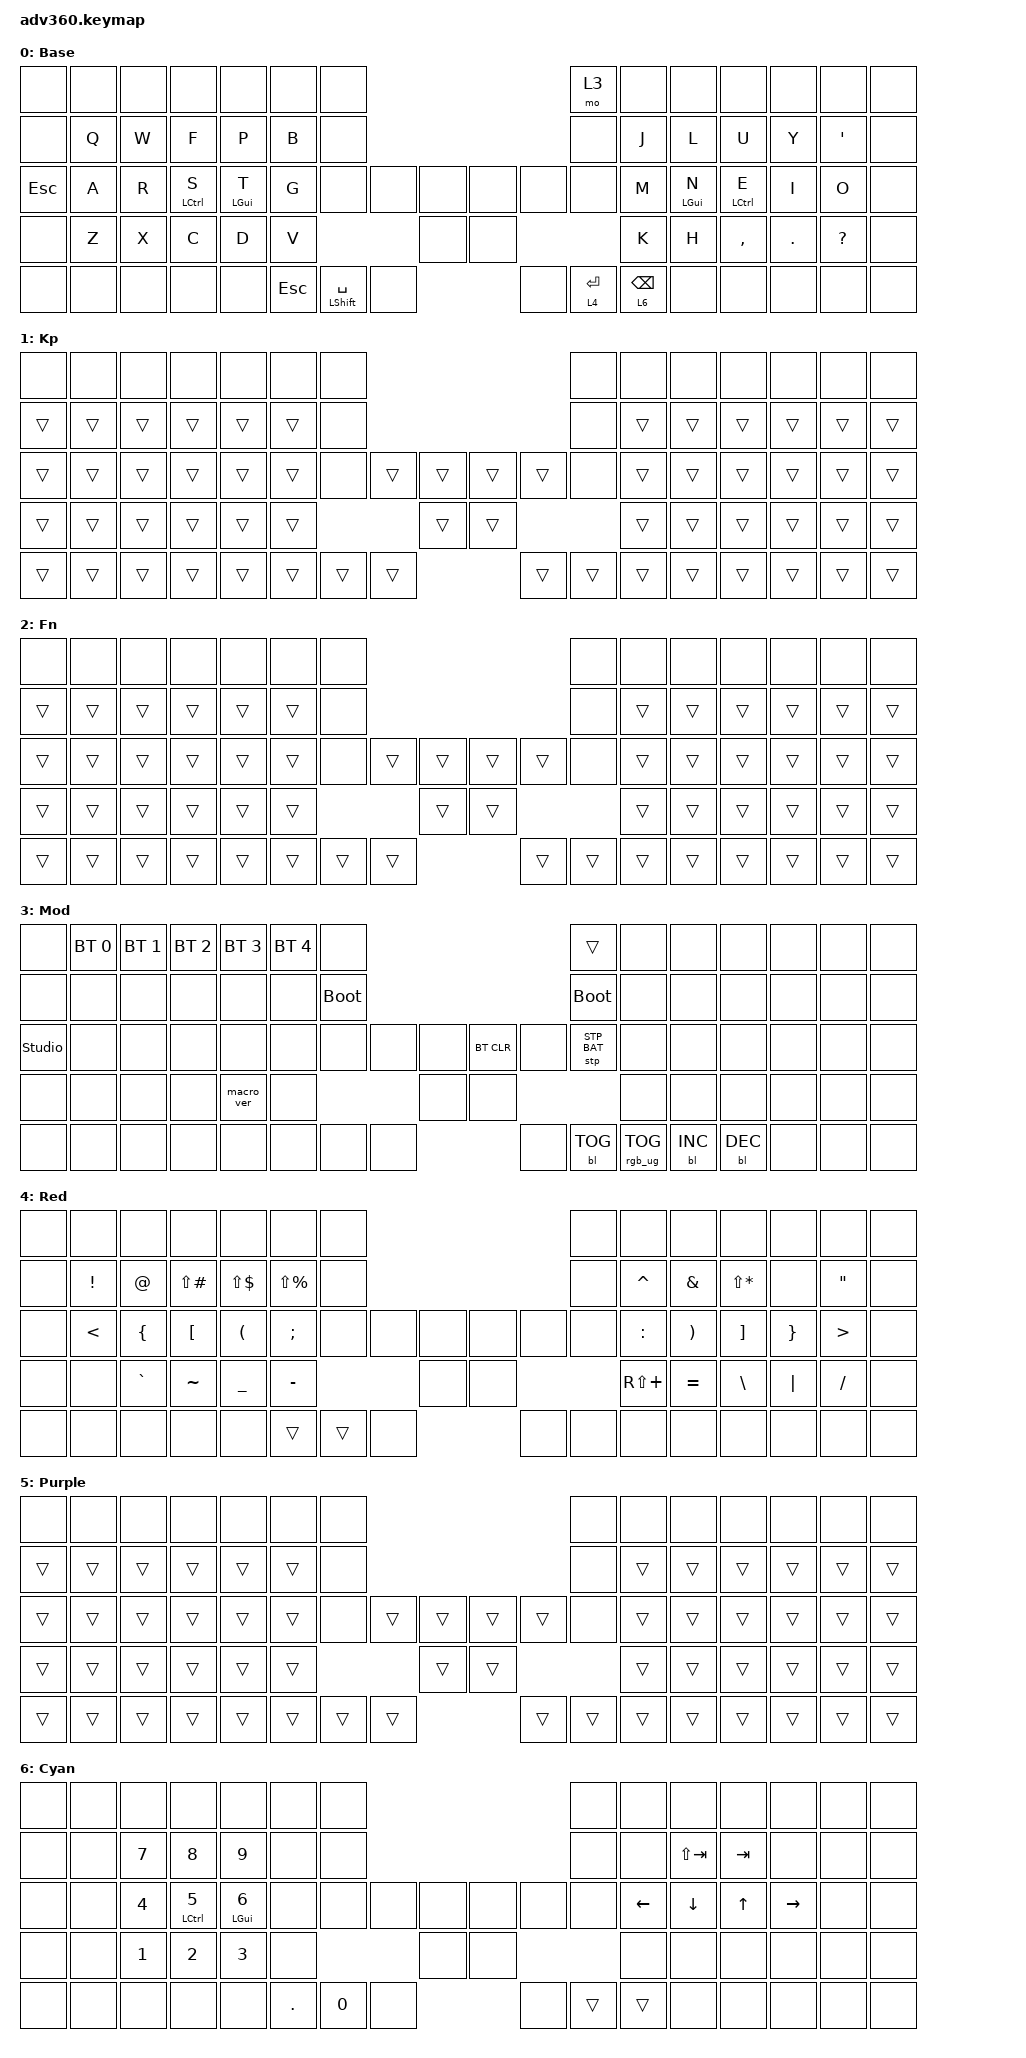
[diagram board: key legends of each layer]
#include <dt-bindings/zmk/stp.h>
#include <behaviors.dtsi>
#include <dt-bindings/zmk/backlight.h>
#include <dt-bindings/zmk/bt.h>
#include <dt-bindings/zmk/keys.h>
#include <dt-bindings/zmk/rgb.h>

/ {
    behaviors {
        #include "macros.dtsi"
      #include "version.dtsi"

        hm: homerow_mods {
            compatible = "zmk,behavior-hold-tap";
            label = "HOMEROW_MODS";
            #binding-cells = <2>;
            tapping-term-ms = <200>;
            quick_tap_ms = <175>;
            flavor = "tap-preferred";
            bindings = <&kp>, <&kp>;
        };

        td2: tap_dance_2 {
            compatible = "zmk,behavior-tap-dance";
            #binding-cells = <0>;
            tapping-term-ms = <200>;
            bindings = <&kp ENTER>, <&kp ESCAPE>;
        };
    };

    macros {
        escapeand0: escapeand0 {
            compatible = "zmk,behavior-macro";
            #binding-cells = <0>;
            bindings = <&kp ESCAPE &to 0>;
            label = "ESCAPEAND0";
        };
    };

    keymap {
        compatible = "zmk,keymap";

        default_layer {
            display-name = "Base";
            bindings = <
&none    &none  &none  &none        &none           &none  &none                                                                                &mo 3  &none  &none           &none        &none    &none         &none
&none    &kp Q  &kp W  &kp F        &kp P           &kp B  &none                                                                                &none  &kp J  &kp L           &kp U        &kp Y    &kp SQT       &none
&kp ESC  &kp A  &kp R  &hm LCTRL S  &hm LEFT_GUI T  &kp G  &none              &none                 &none    &none  &none                       &none  &kp M  &hm LEFT_GUI N  &hm LCTRL E  &kp I    &kp O         &none
&none    &kp Z  &kp X  &kp C        &kp D           &kp V                                           &none    &none                                     &kp K  &kp H           &kp COMMA    &kp DOT  &kp QUESTION  &none
&none    &none  &none  &none        &none                         &kp ESCAPE  &mt LEFT_SHIFT SPACE  &none    &none  &lt 4 RET  &lt 6 BACKSPACE                &none           &none        &none    &none         &none
            >;
        };

        keypad {
            display-name = "Kp";
            bindings = <
&none   &none   &none   &none   &none   &none   &none                                                    &none  &none   &none   &none   &none   &none   &none
&trans  &trans  &trans  &trans  &trans  &trans  &none                                                    &none  &trans  &trans  &trans  &trans  &trans  &trans
&trans  &trans  &trans  &trans  &trans  &trans  &none          &trans  &trans    &trans  &trans          &none  &trans  &trans  &trans  &trans  &trans  &trans
&trans  &trans  &trans  &trans  &trans  &trans                         &trans    &trans                         &trans  &trans  &trans  &trans  &trans  &trans
&trans  &trans  &trans  &trans  &trans                 &trans  &trans  &trans    &trans  &trans  &trans                 &trans  &trans  &trans  &trans  &trans
            >;
        };

        fn {
            display-name = "Fn";
            bindings = <
&none   &none   &none   &none   &none   &none   &none                                                    &none  &none   &none   &none   &none   &none   &none
&trans  &trans  &trans  &trans  &trans  &trans  &none                                                    &none  &trans  &trans  &trans  &trans  &trans  &trans
&trans  &trans  &trans  &trans  &trans  &trans  &none          &trans  &trans    &trans  &trans          &none  &trans  &trans  &trans  &trans  &trans  &trans
&trans  &trans  &trans  &trans  &trans  &trans                         &trans    &trans                         &trans  &trans  &trans  &trans  &trans  &trans
&trans  &trans  &trans  &trans  &trans                 &trans  &trans  &trans    &trans  &trans  &trans                 &trans  &trans  &trans  &trans  &trans
            >;
        };

        mod {
            display-name = "Mod";
            bindings = <
&none           &bt BT_SEL 0  &bt BT_SEL 1  &bt BT_SEL 2  &bt BT_SEL 3  &bt BT_SEL 4  &none                                                                        &trans        &none  &none       &none       &none  &none  &none
&none           &none         &none         &none         &none         &none         &bootloader                                                                  &bootloader   &none  &none       &none       &none  &none  &none
&studio_unlock  &none         &none         &none         &none         &none         &none               &none  &none    &bt BT_CLR  &none                        &stp STP_BAT  &none  &none       &none       &none  &none  &none
&none           &none         &none         &none         &macro_ver    &none                                    &none    &none                                                  &none  &none       &none       &none  &none  &none
&none           &none         &none         &none         &none                                    &none  &none  &none    &none       &bl BL_TOG  &rgb_ug RGB_TOG                       &bl BL_INC  &bl BL_DEC  &none  &none  &none
            >;
        };

        extra1 {
            display-name = "Red";
            bindings = <
&none  &none          &none           &none             &none                 &none            &none                                                &none  &none         &none                  &none              &none            &none             &none
&none  &kp EXCL       &kp AT          &kp LS(POUND)     &kp LS(DOLLAR)        &kp LS(PERCENT)  &none                                                &none  &kp CARET     &kp AMPS               &kp LS(ASTRK)      &none            &kp DQT           &none
&none  &kp LESS_THAN  &kp LEFT_BRACE  &kp LEFT_BRACKET  &kp LEFT_PARENTHESIS  &kp SEMI         &none          &none   &none    &none  &none         &none  &kp COLON     &kp RIGHT_PARENTHESIS  &kp RIGHT_BRACKET  &kp RIGHT_BRACE  &kp GREATER_THAN  &none
&none  &none          &kp GRAVE       &kp TILDE         &kp UNDER             &kp MINUS                               &none    &none                       &kp RS(PLUS)  &kp EQUAL              &kp BACKSLASH      &kp PIPE         &kp SLASH         &none
&none  &none          &none           &none             &none                                         &trans  &trans  &none    &none  &none  &none                       &none                  &none              &none            &none             &none
            >;
        };

        extra2 {
            display-name = "Purple";
            bindings = <
&none   &none   &none   &none   &none   &none   &none                                                    &none  &none   &none   &none   &none   &none   &none
&trans  &trans  &trans  &trans  &trans  &trans  &none                                                    &none  &trans  &trans  &trans  &trans  &trans  &trans
&trans  &trans  &trans  &trans  &trans  &trans  &none          &trans  &trans    &trans  &trans          &none  &trans  &trans  &trans  &trans  &trans  &trans
&trans  &trans  &trans  &trans  &trans  &trans                         &trans    &trans                         &trans  &trans  &trans  &trans  &trans  &trans
&trans  &trans  &trans  &trans  &trans                 &trans  &trans  &trans    &trans  &trans  &trans                 &trans  &trans  &trans  &trans  &trans
            >;
        };

        extra3 {
            display-name = "Cyan";
            bindings = <
&none  &none  &none   &none         &none        &none  &none                                                   &none  &none     &none        &none         &none      &none  &none
&none  &none  &kp N7  &kp N8        &kp N9       &none  &none                                                   &none  &none     &kp LS(TAB)  &kp TAB       &none      &none  &none
&none  &none  &kp N4  &hm LCTRL N5  &hm LGUI N6  &none  &none           &none   &none    &none  &none           &none  &kp LEFT  &kp DOWN     &kp UP_ARROW  &kp RIGHT  &none  &none
&none  &none  &kp N1  &kp N2        &kp N3       &none                          &none    &none                         &none     &none        &none         &none      &none  &none
&none  &none  &none   &none         &none                      &kp DOT  &kp N0  &none    &none  &trans  &trans                   &none        &none         &none      &none  &none
            >;
        };

        extra4 {
            display-name = "Yellow";
            status = "reserved";
        };
    };
};
